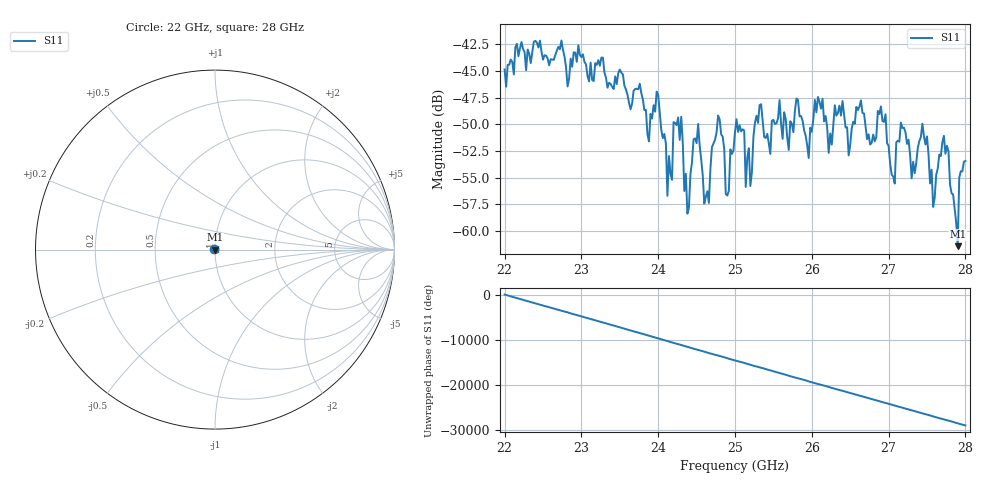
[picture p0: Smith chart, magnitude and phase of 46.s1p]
#  HZ  S  RI  R  50.00
! Rohde & Schwarz ZVA40 4Ports - Version 3.90 - 1145.1110k42 SN: 100403
! Date: 2023-10-04 06:23:10
! Measurement: S12
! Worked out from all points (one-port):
!   301 points, 22 GHz to 28 GHz, reference 50 ohm
!   lowest |S11| = -61.4 dB at 27.9 GHz (marker M1), VSWR 1.00, Z = 49.9 - j0.0229 ohm
!   |S11| at or under -10 dB: start of sweep to end of sweep
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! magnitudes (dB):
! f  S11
! 22 GHz  -44.8
! 22.76 GHz  -43.0
! 23.5 GHz  -44.9
! 23.88 GHz  -51.6
! 24 GHz  -47.3
! 24.12 GHz  -56.7
! 24.26 GHz  -49.3
! 24.38 GHz  -58.4
! 24.52 GHz  -50.0
! 24.6 GHz  -57.4
! 24.78 GHz  -49.2
! 24.88 GHz  -56.6
! 25 GHz  -50.7
! 25.12 GHz  -50.6
! 25.14 GHz  -55.9
! 25.32 GHz  -48.2
! 25.76 GHz  -50.7
! 26.5 GHz  -51.9
! 26.64 GHz  -47.7
! 26.96 GHz  -49.1
! 27.08 GHz  -55.6
! 27.26 GHz  -51.4
! 27.5 GHz  -51.1
! 27.58 GHz  -57.7
! 27.72 GHz  -51.1
! 27.9 GHz  -61.4
! 27.92 GHz  -55.0
! 28 GHz  -53.4
